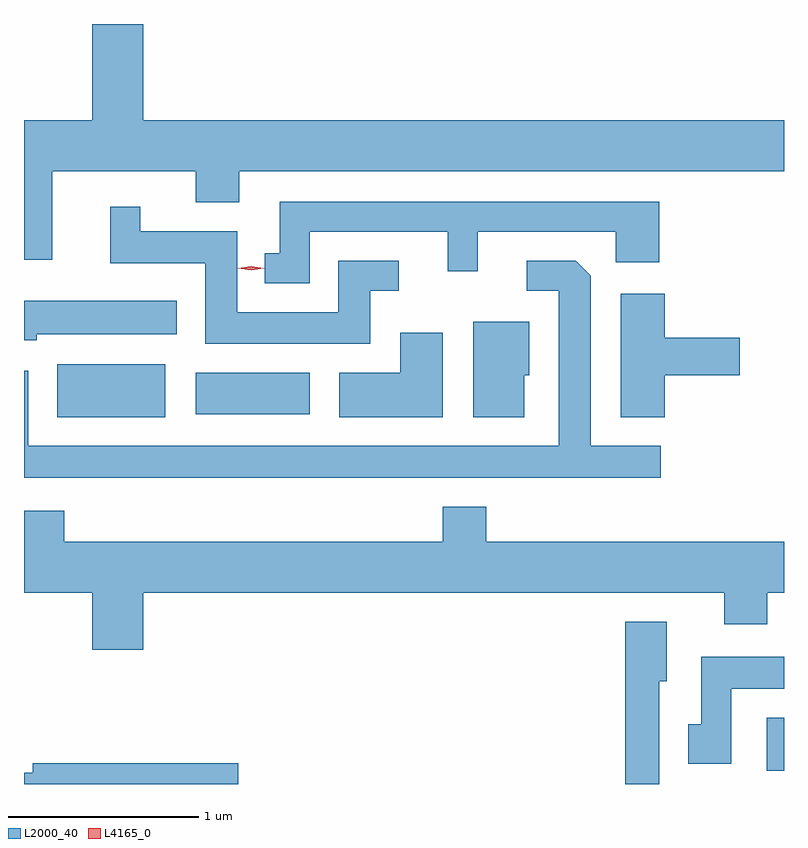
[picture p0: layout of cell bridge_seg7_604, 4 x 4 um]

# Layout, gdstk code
import gdstk
lib = gdstk.Library(unit=1e-6, precision=1e-09)
def R(c, l, rs):  # rectangles x0, y0, x1, y1
    for r in rs: c.add(gdstk.rectangle(r[:2], r[2:], *l))
def P(c, l, *ps):  # polygons
    for p in ps: c.add(gdstk.Polygon(p, *l))
L2000_40 = (2000, 40)
L4165_0 = (4165, 0)

bridge_seg7_604 = lib.new_cell('bridge_seg7_604')
R(bridge_seg7_604, L2000_40, [(798.046,1715.601,798.136,1715.879), (794.311,1717.461,794.879,1717.739), (795.041,1717.476,795.639,1717.694)])
P(bridge_seg7_604, L2000_40, [(794.284,1718.756),(795.041,1718.756),(795.041,1718.591),(795.269,1718.591),(795.269,1718.756),(798.136,1718.756),(798.136,1719.024),(794.764,1719.024),(794.764,1719.53),(794.496,1719.53),(794.496,1719.024),(794.136,1719.024),(794.136,1718.288),(794.284,1718.288)],
  [(795.639,1718.436),(796.366,1718.436),(796.366,1718.228),(796.524,1718.228),(796.524,1718.436),(797.251,1718.436),(797.251,1718.276),(797.479,1718.276),(797.479,1718.594),(795.481,1718.594),(795.481,1718.324),(795.403,1718.324),(795.403,1718.166),(795.639,1718.166)],
  [(795.959,1718.126),(796.108,1718.126),(796.108,1718.284),(795.791,1718.284),(795.791,1718.014),(795.259,1718.014),(795.259,1718.439),(794.749,1718.439),(794.749,1718.568),(794.591,1718.568),(794.591,1718.271),(795.091,1718.271),(795.091,1717.846),(795.959,1717.846)],
  [(797.488,1717.309),(797.119,1717.309),(797.119,1718.204),(797.039,1718.284),(796.783,1718.284),(796.783,1718.126),(796.951,1718.126),(796.951,1717.309),(794.159,1717.309),(794.159,1717.704),(794.136,1717.704),(794.136,1717.141),(797.488,1717.141)],
  [(797.509,1717.681),(797.904,1717.681),(797.904,1717.879),(797.509,1717.879),(797.509,1718.109),(797.276,1718.109),(797.276,1717.461),(797.509,1717.461)],
  [(794.204,1717.896),(794.939,1717.896),(794.939,1718.074),(794.136,1718.074),(794.136,1717.866),(794.204,1717.866)],
  [(796.769,1717.681),(796.794,1717.681),(796.794,1717.964),(796.501,1717.964),(796.501,1717.461),(796.769,1717.461)],
  [(796.339,1717.904),(796.116,1717.904),(796.116,1717.694),(795.796,1717.694),(795.796,1717.461),(796.339,1717.461)],
  [(794.764,1716.536),(797.821,1716.536),(797.821,1716.371),(798.049,1716.371),(798.049,1716.536),(798.136,1716.536),(798.136,1716.804),(796.569,1716.804),(796.569,1716.989),(796.341,1716.989),(796.341,1716.804),(794.349,1716.804),(794.349,1716.969),(794.136,1716.969),(794.136,1716.536),(794.496,1716.536),(794.496,1716.236),(794.764,1716.236)],
  [(797.479,1716.071),(797.519,1716.071),(797.519,1716.384),(797.301,1716.384),(797.301,1715.53),(797.479,1715.53)],
  [(797.859,1716.031),(798.136,1716.031),(798.136,1716.199),(797.701,1716.199),(797.701,1715.844),(797.631,1715.844),(797.631,1715.636),(797.859,1715.636)],
  [(795.264,1715.639),(794.181,1715.639),(794.181,1715.589),(794.136,1715.589),(794.136,1715.53),(795.264,1715.53)])
P(bridge_seg7_604, L4165_0, [(795.331,1718.235),(795.262,1718.244),(795.262,1718.244),(795.262,1718.245),(795.331,1718.255),(795.401,1718.245),(795.401,1718.245),(795.401,1718.244)])

lib.write_gds('bridge_seg7_604.gds')
